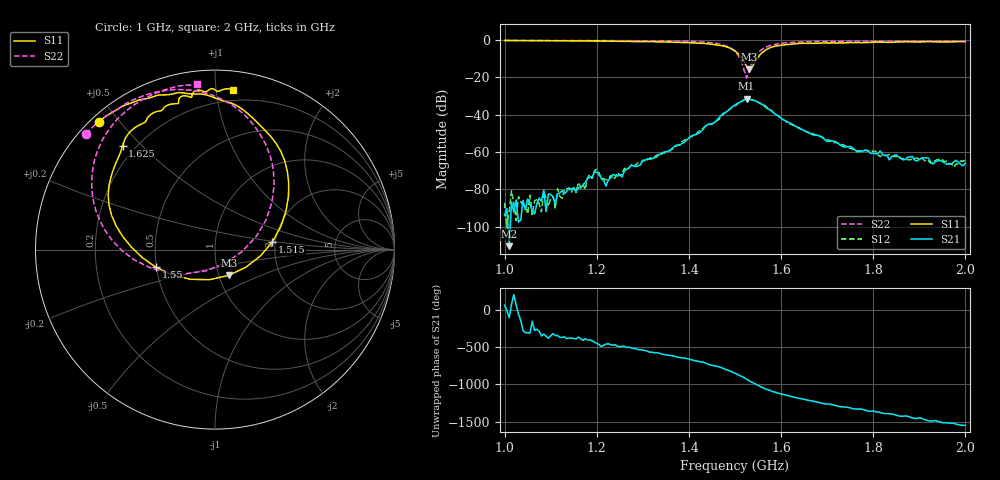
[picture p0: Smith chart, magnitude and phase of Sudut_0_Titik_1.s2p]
# Hz S RI R 50
! CMT, C1220, 16058040, 17.2.0/1
! Date: 14/08/2018 12:53:24
! Data: Format (Calibration Info)
! Freq  S11: Re/Im (F2)  S21: Re/Im (F2)  S12: Re/Im (F2)  S22: Re/Im (F2)
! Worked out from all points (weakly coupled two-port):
!   201 points, 1 GHz to 2 GHz, reference 50 ohm
!   highest |S21| = -31.48 dB at 1.525 GHz (marker M1); lowest = -110.5 dB at 1.01 GHz (marker M2)
!   lowest |S11| = -15.8 dB at 1.53 GHz (marker M3), VSWR 1.39, Z = 55.7 - j16.4 ohm
!   |S11| at or under -10 dB: 1.515 GHz to 1.548 GHz (32.59 MHz wide, 2.13 % of centre)
!   |S22| runs from -20.4 to -0.3 dB; largest |S21 - S12| = 0.0011
!   S11 on the Smith chart (normalised r, x): 1 GHz: 0.02, +0.44; 1.515 GHz: 1.93, +0.18; 1.55 GHz: 0.50, -0.11; 1.625 GHz: 0.15, +0.44; 2 GHz: 0.13, +1.11
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1e9  -0.6454 0.7135  9.18e-06 1.76e-05  -4.26e-05 -9.74e-06  -0.7193 0.6448
1.01e9  -0.6331 0.7225  -7.58e-07 -2.89e-06  -5.85e-06 -2.62e-05  -0.7118 0.6522
1.17e9  -0.4508 0.8229  8.53e-05 -9.62e-05  9.82e-05 -9.94e-05  -0.5773 0.7649
1.175e9  -0.4435 0.8259  0.000135 -6.97e-05  8.2e-05 -5.33e-05  -0.5716 0.7677
1.18e9  -0.4359 0.829  0.000141 -0.000129  0.000126 -0.000158  -0.5662 0.7706
1.195e9  -0.4125 0.836  8.23e-05 -0.000279  8.54e-05 -0.000301  -0.5483 0.7767
1.22e9  -0.3751 0.8423  -1.98e-05 -0.00012  -2.89e-05 -0.000175  -0.5315 0.7901
1.235e9  -0.3488 0.8502  -9.88e-05 -0.000229  -8.23e-05 -0.000164  -0.5145 0.8032
1.255e9  -0.317 0.8602  -0.000132 -0.000166  -0.000161 -0.000202  -0.4886 0.8179
1.335e9  -0.1663 0.8705  -0.000635 0.000528  -0.000574 0.000656  -0.3608 0.8691
1.45e9  0.21 0.7333  0.00506 -0.00232  0.00507 -0.00263  0.0459 0.8333
1.5e9  0.4093 0.2967  -0.0115 -0.0139  -0.0108 -0.0131  0.3296 0.3595
1.515e9  0.3199 0.0426  -0.0225 -0.00242  -0.0227 -0.00305  0.2282 0.0711
1.525e9  0.1717 -0.0985  -0.0234 0.0128  -0.0237 0.0128  0.0568 -0.0763
1.53e9  0.0761 -0.1438  -0.017 0.0196  -0.0172 0.0198  -0.0519 -0.1186
1.55e9  -0.3299 -0.098  0.00869 0.0195  0.00795 0.0198  -0.45 -0.057
1.58e9  -0.5905 0.2483  0.0119 -0.00226  0.0123 -0.00283  -0.6763 0.2648
1.625e9  -0.515 0.5775  0.000306 -0.00546  0.000484 -0.00519  -0.6498 0.5608
1.67e9  -0.3958 0.7052  -0.00229 -0.00166  -0.00247 -0.00178  -0.5671 0.7
1.835e9  -0.1314 0.8474  0.000417 0.000447  0.000688 0.0005  -0.3162 0.877
1.975e9  0.0655 0.8961  8.22e-05 -0.000539  4.91e-05 -0.000391  -0.1264 0.9149
2e9  0.1014 0.8868  -0.000154 -0.000479  -0.000195 -0.000569  -0.099 0.9218
